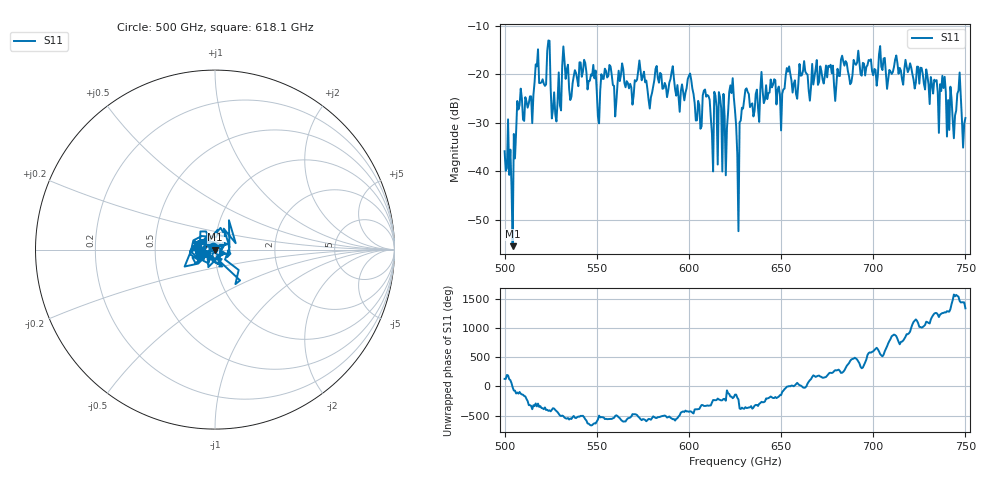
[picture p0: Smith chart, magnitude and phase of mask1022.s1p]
!Created with skrf (http://scikit-rf.org).
# GHz S MA R 50.0
!freq magS11 angS11
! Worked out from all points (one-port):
!   401 points, 500 GHz to 750 GHz, reference 50 ohm
!   lowest |S11| = -55.4 dB at 504.4 GHz (marker M1), VSWR 1.00, Z = 50.2 - j0.0502 ohm
!   |S11| at or under -10 dB: start of sweep to end of sweep
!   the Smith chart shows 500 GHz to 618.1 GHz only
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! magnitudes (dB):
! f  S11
! 500 GHz  -35.9
! 504.4 GHz  -55.4
! 508.1 GHz  -26.4
! 513.8 GHz  -24.5
! 523.1 GHz  -15.2
! 526.9 GHz  -23.7
! 531.2 GHz  -18.3
! 542.5 GHz  -19.4
! 551.2 GHz  -30.1
! 553.8 GHz  -21.0
! 560 GHz  -28.7
! 562.5 GHz  -21.4
! 593.8 GHz  -22.2
! 600.6 GHz  -19.8
! 605 GHz  -25.5
! 609.4 GHz  -24.6
! 619.4 GHz  -28.7
! 623.1 GHz  -23.9
! 625 GHz  -27.5
! 626.9 GHz  -52.3
! 631.2 GHz  -22.9
! 656.2 GHz  -23.8
! 687.5 GHz  -22.0
! 718.8 GHz  -19.6
! 737.5 GHz  -20.3
! 743.8 GHz  -33.2
! 746.2 GHz  -23.4
! 750 GHz  -29.0
